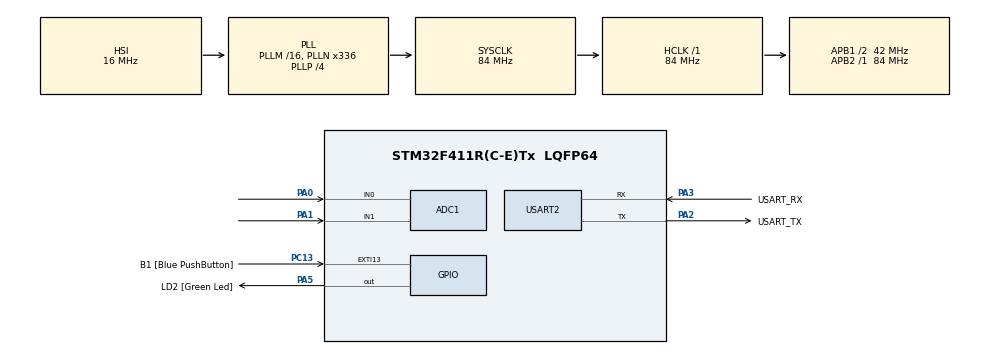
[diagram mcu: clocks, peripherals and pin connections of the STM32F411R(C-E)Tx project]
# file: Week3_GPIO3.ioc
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ADC1.Channel-0\#ChannelRegularConversion=ADC_CHANNEL_0
ADC1.NbrOfConversionFlag=1
ADC1.Rank-0\#ChannelRegularConversion=1
ADC1.SamplingTime-0\#ChannelRegularConversion=ADC_SAMPLETIME_3CYCLES
ADC1.master=1
Mcu.Family=STM32F4
Mcu.Name=STM32F411R(C-E)Tx
Mcu.Package=LQFP64
NVIC.PriorityGroup=NVIC_PRIORITYGROUP_0
PA0-WKUP.Signal=ADCx_IN0
PA1.Signal=ADCx_IN1
PA13.GPIO_Label=TMS
PA13.Mode=Serial_Wire
PA13.Signal=SYS_JTMS-SWDIO
PA14.GPIO_Label=TCK
PA14.Mode=Serial_Wire
PA14.Signal=SYS_JTCK-SWCLK
PA2.GPIO_Label=USART_TX
PA2.Mode=Asynchronous
PA2.Signal=USART2_TX
PA3.GPIO_Label=USART_RX
PA3.Mode=Asynchronous
PA3.Signal=USART2_RX
PA5.GPIO_Label=LD2 [Green Led]
PA5.Signal=GPIO_Output
PB3.GPIO_Label=SWO
PB3.Signal=SYS_JTDO-SWO
PC13-ANTI_TAMP.GPIO_Label=B1 [Blue PushButton]
PC13-ANTI_TAMP.GPIO_ModeDefaultEXTI=GPIO_MODE_IT_FALLING
PC13-ANTI_TAMP.Signal=GPXTI13
PC14-OSC32_IN.Mode=LSE-External-Oscillator
PC14-OSC32_IN.Signal=RCC_OSC32_IN
PC15-OSC32_OUT.Mode=LSE-External-Oscillator
PC15-OSC32_OUT.Signal=RCC_OSC32_OUT
PH0\ -\ OSC_IN.Mode=HSE-External-Clock-Source
PH0\ -\ OSC_IN.Signal=RCC_OSC_IN
PH1\ -\ OSC_OUT.Mode=HSE-External-Clock-Source
PH1\ -\ OSC_OUT.Signal=RCC_OSC_OUT
ProjectManager.HeapSize=0x200
ProjectManager.StackSize=0x400
ProjectManager.TargetToolchain=STM32CubeIDE
RCC.48MHZClocksFreq_Value=84000000
RCC.AHBFreq_Value=84000000
RCC.APB1CLKDivider=RCC_HCLK_DIV2
RCC.APB1Freq_Value=42000000
RCC.APB1TimFreq_Value=84000000
RCC.APB2Freq_Value=84000000
RCC.APB2TimFreq_Value=84000000
RCC.CortexFreq_Value=84000000
RCC.FLatency-AdvancedSettings=FLASH_LATENCY_2
RCC.HCLKFreq_Value=84000000
RCC.HSE_VALUE=8000000
RCC.HSI_VALUE=16000000
RCC.PLLN=336
RCC.PLLP=RCC_PLLP_DIV4
RCC.SYSCLKFreq_VALUE=84000000
RCC.SYSCLKSource=RCC_SYSCLKSOURCE_PLLCLK
RCC.VCOOutputFreq_Value=336000000
SH.ADCx_IN0.0=ADC1_IN0,IN0
SH.ADCx_IN1.0=ADC1_IN1,IN1
USART2.VirtualMode=VM_ASYNC
VP_ADC1_TempSens_Input.Mode=IN-TempSens
board=NUCLEO-F411RE

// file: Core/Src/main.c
/* USER CODE BEGIN Header */
/**
 ******************************************************************************
 * @file           : main.c
 * @brief          : Main program body
 ******************************************************************************
 * @attention
 *
 * <h2><center>&copy; Copyright (c) 2021 STMicroelectronics.
 * All rights reserved.</center></h2>
 *
 * This software component is licensed by ST under BSD 3-Clause license,
 * the "License"; You may not use this file except in compliance with the
 * License. You may obtain a copy of the License at:
 *                        opensource.org/licenses/BSD-3-Clause
 *
 ******************************************************************************
 */
/* USER CODE END Header */
#include "main.h"

ADC_HandleTypeDef hadc1;

UART_HandleTypeDef huart2;

/* USER CODE BEGIN PV */
uint16_t ADCMode = 0;
float ADCOutputConverted = 0.0;
uint32_t adcdata[2] = { 0 };
uint32_t ModeState[2] = {0};

typedef struct {
	ADC_ChannelConfTypeDef Config;
	uint16_t data;
} ADCStructure;

ADCStructure ADCChannel[3] = { 0 };

/* USER CODE END PV */

void SystemClock_Config(void);
static void MX_GPIO_Init(void);
static void MX_USART2_UART_Init(void);
static void MX_ADC1_Init(void);
/* USER CODE BEGIN PFP */
void ADCPollingMethodInit();
void ADCPollingMethodUpdate();
/* USER CODE END PFP */

int main(void) {

	/* MCU Configuration--------------------------------------------------------*/

	/* Reset of all peripherals, Initializes the Flash interface and the Systick. */
	HAL_Init();

	/* Configure the system clock */
	SystemClock_Config();

	/* Initialize all configured peripherals */
	MX_GPIO_Init();
	MX_USART2_UART_Init();
	MX_ADC1_Init();
	/* USER CODE BEGIN 2 */
	ADCPollingMethodInit();

	/* USER CODE END 2 */

	/* Infinite loop */
	while (1) {

		/* USER CODE BEGIN 3 */

		ADCPollingMethodUpdate();
		ModeState[0] = HAL_GPIO_ReadPin(GPIOC, GPIO_PIN_13);
		if(ModeState[1] == 1 && ModeState[0] == 0)
		{
			if(ADCMode == 0)
			{
				ADCMode = 1;
				//ADCOutputConverted = ADCChannel[0].data*3300/(2^12);
			}
			else if(ADCMode == 1)
			{
				ADCMode = 0;
				//ADCOutputConverted = ADCChannel[2].data*
			}
		}
		if(ADCMode == 0)
		{
			ADCOutputConverted = ADCChannel[0].data*3300/(4096.0);
		}
		else
		{
			ADCOutputConverted = ((ADCChannel[2].data*3300/4096.0-760)/2.5)+25;
		}
		ModeState[1] = ModeState[0];
	}

	/* USER CODE END 3 */
}

void SystemClock_Config(void) {
	RCC_OscInitTypeDef RCC_OscInitStruct = { 0 };
	RCC_ClkInitTypeDef RCC_ClkInitStruct = { 0 };

	/** Configure the main internal regulator output voltage
	 */
	__HAL_RCC_PWR_CLK_ENABLE();
	__HAL_PWR_VOLTAGESCALING_CONFIG(PWR_REGULATOR_VOLTAGE_SCALE1);
	/** Initializes the RCC Oscillators according to the specified parameters
	 * in the RCC_OscInitTypeDef structure.
	 */
	RCC_OscInitStruct.OscillatorType = RCC_OSCILLATORTYPE_HSI;
	RCC_OscInitStruct.HSIState = RCC_HSI_ON;
	RCC_OscInitStruct.HSICalibrationValue = RCC_HSICALIBRATION_DEFAULT;
	RCC_OscInitStruct.PLL.PLLState = RCC_PLL_ON;
	RCC_OscInitStruct.PLL.PLLSource = RCC_PLLSOURCE_HSI;
	RCC_OscInitStruct.PLL.PLLM = 16;
	RCC_OscInitStruct.PLL.PLLN = 336;
	RCC_OscInitStruct.PLL.PLLP = RCC_PLLP_DIV4;
	RCC_OscInitStruct.PLL.PLLQ = 4;
	if (HAL_RCC_OscConfig(&RCC_OscInitStruct) != HAL_OK) {
		Error_Handler();
	}
	/** Initializes the CPU, AHB and APB buses clocks
	 */
	RCC_ClkInitStruct.ClockType = RCC_CLOCKTYPE_HCLK | RCC_CLOCKTYPE_SYSCLK
			| RCC_CLOCKTYPE_PCLK1 | RCC_CLOCKTYPE_PCLK2;
	RCC_ClkInitStruct.SYSCLKSource = RCC_SYSCLKSOURCE_PLLCLK;
	RCC_ClkInitStruct.AHBCLKDivider = RCC_SYSCLK_DIV1;
	RCC_ClkInitStruct.APB1CLKDivider = RCC_HCLK_DIV2;
	RCC_ClkInitStruct.APB2CLKDivider = RCC_HCLK_DIV1;

	if (HAL_RCC_ClockConfig(&RCC_ClkInitStruct, FLASH_LATENCY_2) != HAL_OK) {
		Error_Handler();
	}
}

static void MX_ADC1_Init(void) {

	ADC_ChannelConfTypeDef sConfig = { 0 };

	/** Configure the global features of the ADC (Clock, Resolution, Data Alignment and number of conversion)
	 */
	hadc1.Instance = ADC1;
	hadc1.Init.ClockPrescaler = ADC_CLOCK_SYNC_PCLK_DIV4;
	hadc1.Init.Resolution = ADC_RESOLUTION_12B;
	hadc1.Init.ScanConvMode = DISABLE;
	hadc1.Init.ContinuousConvMode = DISABLE;
	hadc1.Init.DiscontinuousConvMode = DISABLE;
	hadc1.Init.ExternalTrigConvEdge = ADC_EXTERNALTRIGCONVEDGE_NONE;
	hadc1.Init.ExternalTrigConv = ADC_SOFTWARE_START;
	hadc1.Init.DataAlign = ADC_DATAALIGN_RIGHT;
	hadc1.Init.NbrOfConversion = 1;
	hadc1.Init.DMAContinuousRequests = DISABLE;
	hadc1.Init.EOCSelection = ADC_EOC_SINGLE_CONV;
	if (HAL_ADC_Init(&hadc1) != HAL_OK) {
		Error_Handler();
	}
	/** Configure for the selected ADC regular channel its corresponding rank in the sequencer and its sample time.
	 */
	sConfig.Channel = ADC_CHANNEL_0;
	sConfig.Rank = 1;
	sConfig.SamplingTime = ADC_SAMPLETIME_3CYCLES;
	if (HAL_ADC_ConfigChannel(&hadc1, &sConfig) != HAL_OK) {
		Error_Handler();
	}

}

static void MX_USART2_UART_Init(void) {

	huart2.Instance = USART2;
	huart2.Init.BaudRate = 115200;
	huart2.Init.WordLength = UART_WORDLENGTH_8B;
	huart2.Init.StopBits = UART_STOPBITS_1;
	huart2.Init.Parity = UART_PARITY_NONE;
	huart2.Init.Mode = UART_MODE_TX_RX;
	huart2.Init.HwFlowCtl = UART_HWCONTROL_NONE;
	huart2.Init.OverSampling = UART_OVERSAMPLING_16;
	if (HAL_UART_Init(&huart2) != HAL_OK) {
		Error_Handler();
	}

}

static void MX_GPIO_Init(void) {
	GPIO_InitTypeDef GPIO_InitStruct = { 0 };

	/* GPIO Ports Clock Enable */
	__HAL_RCC_GPIOC_CLK_ENABLE();
	__HAL_RCC_GPIOH_CLK_ENABLE();
	__HAL_RCC_GPIOA_CLK_ENABLE();
	__HAL_RCC_GPIOB_CLK_ENABLE();

	/*Configure GPIO pin Output Level */
	HAL_GPIO_WritePin(LD2_GPIO_Port, LD2_Pin, GPIO_PIN_RESET);

	/*Configure GPIO pin : B1_Pin */
	GPIO_InitStruct.Pin = B1_Pin;
	GPIO_InitStruct.Mode = GPIO_MODE_IT_FALLING;
	GPIO_InitStruct.Pull = GPIO_NOPULL;
	HAL_GPIO_Init(B1_GPIO_Port, &GPIO_InitStruct);

	/*Configure GPIO pin : LD2_Pin */
	GPIO_InitStruct.Pin = LD2_Pin;
	GPIO_InitStruct.Mode = GPIO_MODE_OUTPUT_PP;
	GPIO_InitStruct.Pull = GPIO_NOPULL;
	GPIO_InitStruct.Speed = GPIO_SPEED_FREQ_LOW;
	HAL_GPIO_Init(LD2_GPIO_Port, &GPIO_InitStruct);

}

/* USER CODE BEGIN 4 */
void ADCPollingMethodInit() {
	//config all ADC Channel
	ADCChannel[0].Config.Channel = ADC_CHANNEL_0;
	ADCChannel[0].Config.Rank = 1;
	ADCChannel[0].Config.SamplingTime = ADC_SAMPLETIME_3CYCLES;

	ADCChannel[1].Config.Channel = ADC_CHANNEL_1;
	ADCChannel[1].Config.Rank = 1;
	ADCChannel[1].Config.SamplingTime = ADC_SAMPLETIME_3CYCLES;

	ADCChannel[2].Config.Channel = ADC_CHANNEL_TEMPSENSOR;
	ADCChannel[2].Config.Rank = 1;
	ADCChannel[2].Config.SamplingTime = ADC_SAMPLETIME_3CYCLES;
}
//Polling Method
void ADCPollingMethodUpdate() {
	//Read all 3 Channel
	for (int i = 0; i < 3; i++) {
		HAL_ADC_ConfigChannel(&hadc1, &ADCChannel[i].Config);
		HAL_ADC_Start(&hadc1);
		HAL_ADC_PollForConversion(&hadc1, 10);
		ADCChannel[i].data = HAL_ADC_GetValue(&hadc1);
		HAL_ADC_Stop(&hadc1);
	}
}
/* USER CODE END 4 */

void Error_Handler(void) {
	__disable_irq();
	while (1) {
	}
}

/************************ (C) COPYRIGHT STMicroelectronics *****END OF FILE****/
